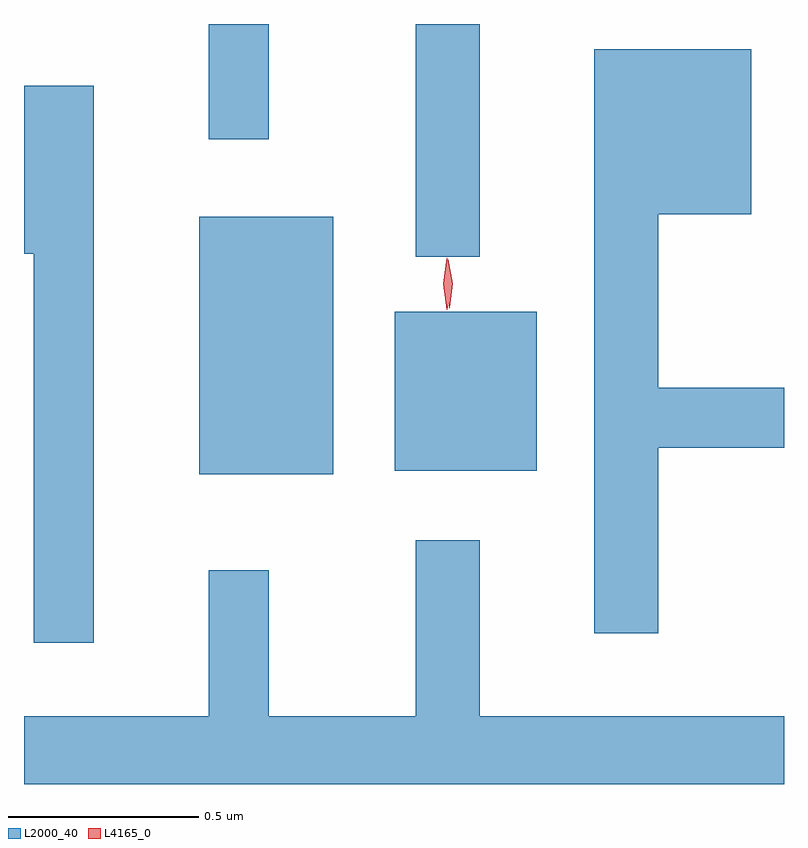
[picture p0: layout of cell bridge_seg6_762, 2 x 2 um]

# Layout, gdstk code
import gdstk
lib = gdstk.Library(unit=1e-6, precision=1e-09)
def R(c, l, rs):  # rectangles x0, y0, x1, y1
    for r in rs: c.add(gdstk.rectangle(r[:2], r[2:], *l))
def P(c, l, *ps):  # polygons
    for p in ps: c.add(gdstk.Polygon(p, *l))
L2000_40 = (2000, 40)
L4165_0 = (4165, 0)

bridge_seg6_762 = lib.new_cell('bridge_seg6_762')
R(bridge_seg6_762, L2000_40, [(516.331,1548.721,516.684,1549.399), (516.846,1548.731,517.219,1549.149), (516.901,1549.293,517.069,1549.906), (516.356,1549.603,516.514,1549.906)])
P(bridge_seg6_762, L2000_40, [(517.539,1548.791),(517.87,1548.791),(517.87,1548.949),(517.539,1548.949),(517.539,1549.406),(517.784,1549.406),(517.784,1549.839),(517.371,1549.839),(517.371,1548.303),(517.539,1548.303)],
  [(516.054,1549.744),(515.87,1549.744),(515.87,1549.301),(515.896,1549.301),(515.896,1548.278),(516.054,1548.278)],
  [(517.87,1548.084),(517.069,1548.084),(517.069,1548.548),(516.901,1548.548),(516.901,1548.084),(516.514,1548.084),(516.514,1548.468),(516.356,1548.468),(516.356,1548.084),(515.87,1548.084),(515.87,1547.906),(517.87,1547.906)])
P(bridge_seg6_762, L4165_0, [(516.983,1549.154),(516.983,1549.154),(516.973,1549.222),(516.983,1549.29),(516.983,1549.29),(516.984,1549.29),(516.993,1549.222),(516.984,1549.154)],
  [(516.989,1549.158),(516.989,1549.159),(516.978,1549.222),(516.986,1549.287),(516.986,1549.287),(516.987,1549.287),(516.998,1549.223),(516.99,1549.159)])

lib.write_gds('bridge_seg6_762.gds')
